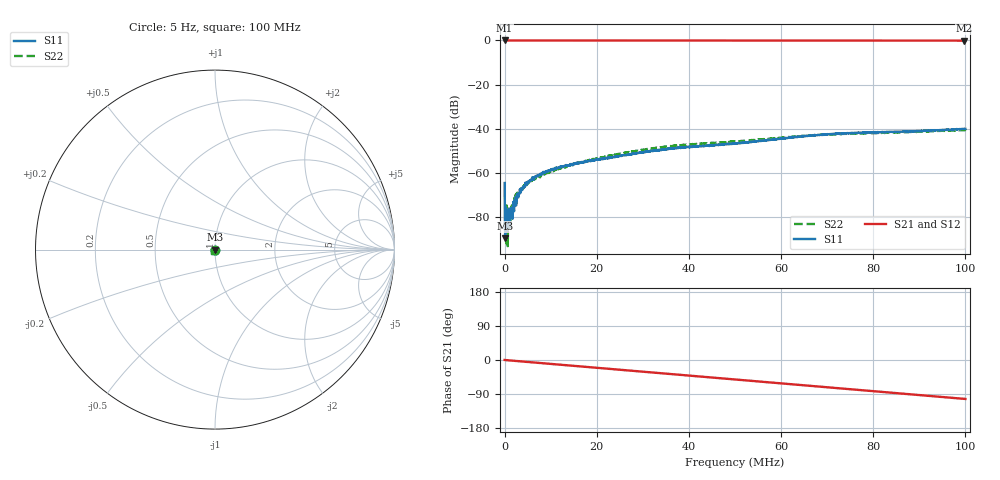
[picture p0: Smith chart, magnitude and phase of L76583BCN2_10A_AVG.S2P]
!Agilent Technologies,E5061B,MY49102235,A.02.00
!Date: Mon Jul 10 17:00:29 2023
!Data & Calibration Information:
!Freq	S11:SOLT2(ON)	S21:SOLT2(ON)	S12:SOLT2(ON)	S22:SOLT2(ON)
# Hz S RI R 50
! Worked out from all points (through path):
!   1600 points, 5 Hz to 100 MHz, reference 50 ohm
!   highest |S21| = 0.02 dB at 5 Hz (marker M1); lowest = -0.1 dB at 99.75 MHz (marker M2)
!   group delay of S21, straight-line fit = 2.86 ns
!   lowest |S11| = -89.5 dB at 125.1 kHz (marker M3), VSWR 1.00, Z = 50 + j0.00257 ohm
!   |S11| at or under -10 dB: start of sweep to end of sweep
!   |S22| runs from -93.0 to -40.4 dB; largest |S21 - S12| = 0.0027
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5  -0.000427 0.000419  1.002 0.00229  1.001 -3.47e-05  -3.95e-05 -6.64e-05
125083.2  -2.15e-05 2.57e-05  1 -0.00247  1 -0.00233  -5.64e-05 1.66e-06
562856.8  0.000138 3.96e-05  0.9997 -0.0103  0.9996 -0.00981  6.61e-05 -1.13e-05
813013.1  -5.76e-05 -5.05e-05  1 -0.0148  0.9991 -0.0143  -7.46e-05 -0.000107
1188248  -4.42e-05 -0.000109  0.9997 -0.0213  0.9995 -0.021  -1.25e-05 -8.56e-05
1563482  -7.86e-05 -0.000143  0.9993 -0.0282  0.9994 -0.0279  -5.84e-05 -0.000176
1813638  -6.29e-05 -0.000143  0.9999 -0.0324  0.999 -0.0325  -3.33e-05 -0.00017
2439029  -2.57e-05 -0.000292  0.9989 -0.0438  0.9985 -0.0437  -3.08e-05 -0.000327
3377116  1.2e-05 -0.00037  0.9983 -0.0609  0.9979 -0.0604  -2.06e-05 -0.000388
4002506  6.12e-05 -0.000464  0.9974 -0.0719  0.9972 -0.0715  5.06e-06 -0.000447
5503444  3.54e-05 -0.000679  0.9951 -0.0988  0.9949 -0.0986  -1.03e-05 -0.000647
6879304  4.3e-05 -0.000854  0.9923 -0.1233  0.9921 -0.1229  -1.28e-05 -0.000789
9380868  4.52e-06 -0.00108  0.9858 -0.1676  0.9855 -0.1672  -1.84e-05 -0.001
1.282052e7  -1.51e-06 -0.00144  0.9735 -0.228  0.9734 -0.2278  4.87e-05 -0.00136
1.669794e7  -7.52e-05 -0.00175  0.9552 -0.2949  0.9552 -0.2947  2.81e-05 -0.00179
2.60788e7  -0.000417 -0.00248  0.892 -0.4506  0.892 -0.4505  -0.000272 -0.0029
3.333334e7  -0.000768 -0.00319  0.8258 -0.5624  0.8259 -0.562  -0.000615 -0.00373
5.003127e7  -0.00139 -0.0045  0.6225 -0.7801  0.6226 -0.7799  -0.0018 -0.00487
6.672921e7  -0.00349 -0.00623  0.364 -0.9277  0.364 -0.9273  -0.00362 -0.00613
8.33646e7  -0.00452 -0.00727  0.0747 -0.9921  0.0751 -0.9916  -0.00447 -0.00689
9.974984e7  -0.00703 -0.00719  -0.2159 -0.9691  -0.2157 -0.9691  -0.00641 -0.00682
1e8  -0.00709 -0.00714  -0.2202 -0.9683  -0.22 -0.9682  -0.00666 -0.00682
